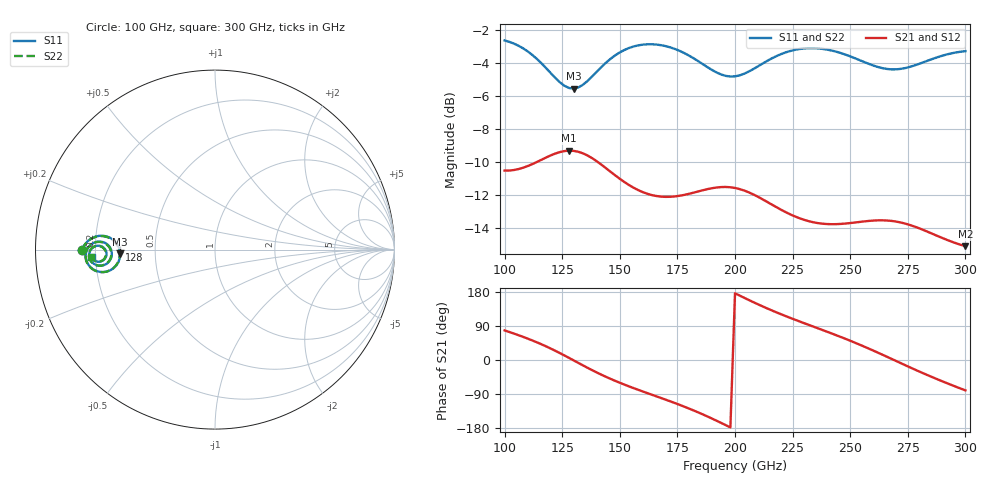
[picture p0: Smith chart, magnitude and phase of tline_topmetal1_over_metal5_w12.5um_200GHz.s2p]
#  GHZ S DB R 50
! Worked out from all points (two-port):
!   101 points, 100 GHz to 300 GHz, reference 50 ohm
!   highest |S21| = -9.32 dB at 128 GHz (marker M1); lowest = -15.1 dB at 300 GHz (marker M2)
!   |S21| within 3 dB of the highest: start of sweep to 212.4 GHz
!   lowest |S11| = -5.5 dB at 130 GHz (marker M3), VSWR 3.24, Z = 15.4 - j1.09 ohm
!   |S11| at or under -10 dB: nowhere
!   |S22| runs from -5.5 to -2.6 dB; largest |S21 - S12| = 4.3e-13
!   S11 on the Smith chart (normalised r, x): 100 GHz: 0.15, -0.00; 128 GHz: 0.31, -0.00; 300 GHz: 0.19, -0.03
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100  -2.61 -179.8  -10.53 78.1  -10.53 78.1  -2.60 -179.7
108  -3.09 175.5  -10.36 61.1  -10.36 61.1  -3.07 175.6
116  -4.00 173.0  -9.87 41.4  -9.87 41.4  -3.98 173.2
122  -4.89 174.5  -9.49 24.3  -9.49 24.3  -4.86 174.7
128  -5.50 -179.8  -9.32 5.4  -9.32 5.4  -5.47 -179.6
130  -5.54 -177.2  -9.33 -1.1  -9.33 -1.1  -5.50 -177.1
134  -5.31 -172.6  -9.48 -14.2  -9.48 -14.2  -5.27 -172.5
140  -4.51 -168.8  -9.96 -32.9  -9.96 -32.9  -4.48 -168.8
148  -3.51 -169.6  -10.82 -55.0  -10.82 -55.0  -3.49 -169.6
158  -2.91 -174.2  -11.72 -78.7  -11.72 -78.7  -2.89 -174.2
168  -2.90 -179.3  -12.12 -100.5  -12.12 -100.5  -2.88 -179.2
184  -3.87 176.0  -11.80 -138.2  -11.80 -138.2  -3.84 176.2
192  -4.56 178.0  -11.56 -160.2  -11.56 -160.2  -4.52 178.1
200  -4.79 -176.9  -11.59 176.1  -11.59 176.1  -4.75 -176.8
208  -4.35 -172.7  -11.99 152.6  -11.99 152.6  -4.31 -172.7
216  -3.70 -172.1  -12.60 130.8  -12.60 130.8  -3.67 -172.2
234  -3.08 -177.6  -13.68 88.1  -13.68 88.1  -3.06 -177.6
252  -3.69 178.1  -13.69 45.8  -13.69 45.8  -3.65 178.2
268  -4.37 -178.3  -13.60 2.8  -13.60 2.8  -4.32 -178.2
276  -4.21 -175.3  -13.85 -19.5  -13.85 -19.5  -4.17 -175.3
284  -3.82 -174.0  -14.28 -41.0  -14.28 -41.0  -3.78 -174.1
300  -3.26 -176.5  -15.13 -80.2  -15.13 -80.2  -3.23 -176.5
